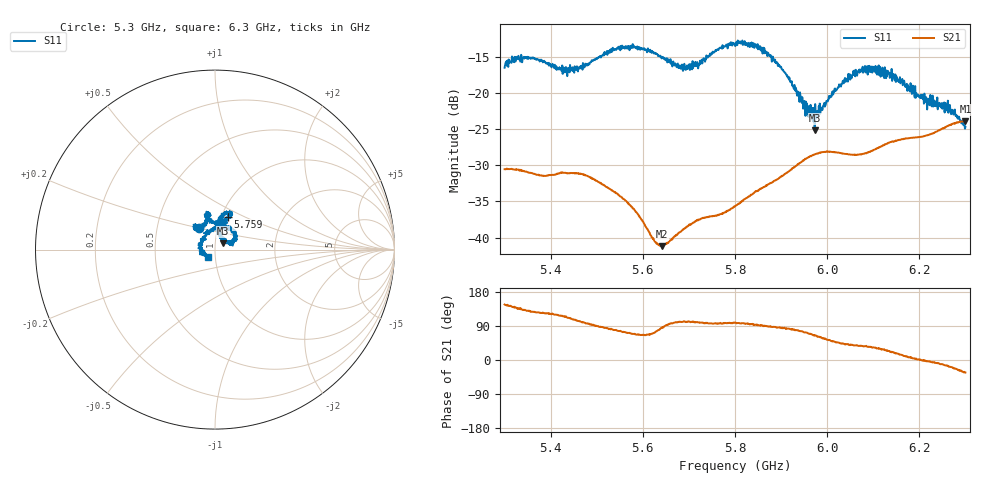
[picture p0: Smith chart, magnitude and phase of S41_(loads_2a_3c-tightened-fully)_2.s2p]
! NanoVNA-App
! Date: 2026-11-04 23:46:22
! Start: 5,3GHz Stop: 6,3GHz Points: 1001
! S-Parameter data: F S11 S21 S12 S22
# Hz S RI R 50
!  Frequency  S11_Real  S11_Imag  S21_Real  S21_Imag  S12_Real  S12_Imag  S22_Real  S22_Imag
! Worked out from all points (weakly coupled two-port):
!   1001 points, 5.3 GHz to 6.3 GHz, reference 50 ohm
!   highest |S21| = -23.94 dB at 6.3 GHz (marker M1); lowest = -41.2 dB at 5.642 GHz (marker M2)
!   lowest |S11| = -25.2 dB at 5.973 GHz (marker M3), VSWR 1.12, Z = 54.3 + j3.78 ohm
!   |S11| at or under -10 dB: start of sweep to end of sweep
!   S12 and S22 are empty: the file has one direction only
!   S11 on the Smith chart (normalised r, x): 5.3 GHz: 0.82, +0.20; 5.759 GHz: 1.07, +0.40; 6.3 GHz: 0.92, -0.08
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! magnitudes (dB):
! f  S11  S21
! 5.3 GHz  -16.5  -30.6
! 5.345 GHz  -15.2  -30.9
! 5.431 GHz  -17.2  -31.1
! 5.467 GHz  -16.3  -31.2
! 5.564 GHz  -13.7  -35.0
! 5.634 GHz  -14.8  -41.0
! 5.642 GHz  -15.0  -41.2
! 5.702 GHz  -16.9  -38.2
! 5.759 GHz  -14.2  -37.0
! 5.8 GHz  -13.5  -35.7
! 5.841 GHz  -13.6  -33.9
! 5.868 GHz  -14.5  -32.7
! 5.904 GHz  -16.8  -31.4
! 5.953 GHz  -23.2  -29.1
! 5.967 GHz  -22.2  -28.7
! 5.973 GHz  -25.2  -28.5
! 6.059 GHz  -16.9  -28.6
! 6.095 GHz  -16.5  -28.1
! 6.134 GHz  -17.3  -26.9
! 6.212 GHz  -21.3  -26.0
! 6.261 GHz  -22.5  -24.6
! 6.3 GHz  -24.7  -23.9
